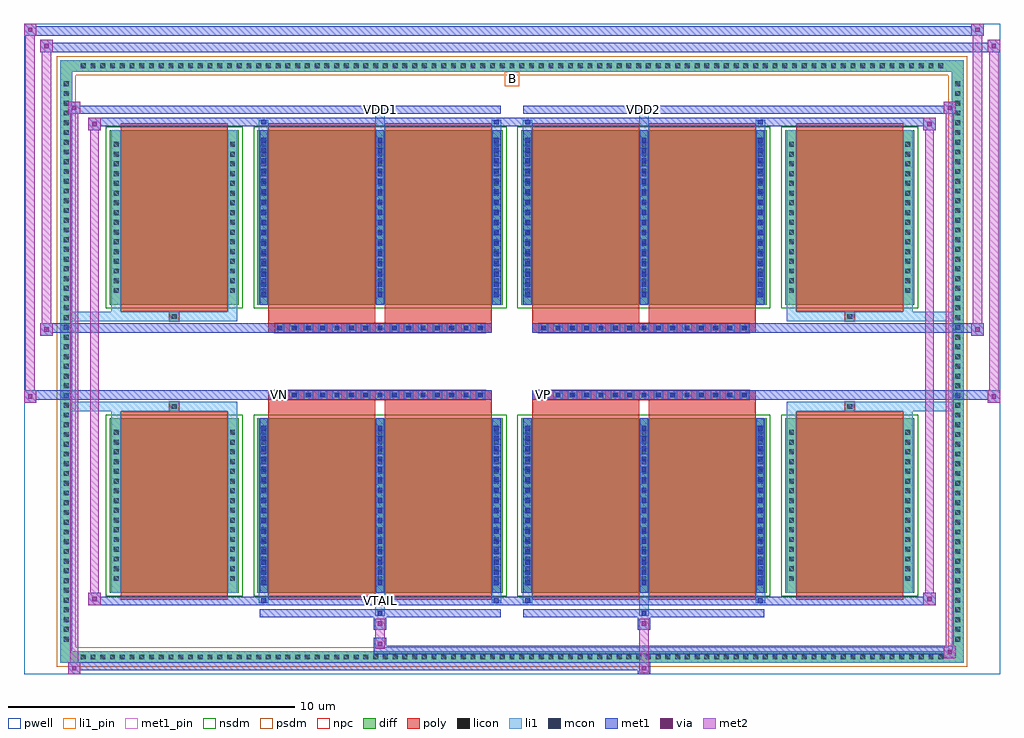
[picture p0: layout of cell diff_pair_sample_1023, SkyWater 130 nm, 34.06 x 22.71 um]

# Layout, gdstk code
import gdstk
lib = gdstk.Library(unit=1e-6, precision=5e-09)
def R(c, l, rs):  # rectangles x0, y0, x1, y1
    for r in rs: c.add(gdstk.rectangle(r[:2], r[2:], *l))
def A(c, l, x, y, w, h, nx, ny, dx, dy):  # array of equal rectangles
    R(c, l, [(x+i*dx, y+j*dy, x+i*dx+w, y+j*dy+h) for i in range(nx) for j in range(ny)])
def P(c, l, *ps):  # polygons
    for p in ps: c.add(gdstk.Polygon(p, *l))
pwell = (64, 44)
diff = (65, 20)
poly = (66, 20)
licon = (66, 44)
li1_pin = (67, 16)
li1 = (67, 20)
mcon = (67, 44)
met1_pin = (68, 16)
met1 = (68, 20)
via = (68, 44)
met2 = (69, 20)
nsdm = (93, 44)
psdm = (94, 20)
npc = (95, 20)

diff_pair_sample_1023 = lib.new_cell('diff_pair_sample_1023')
R(diff_pair_sample_1023, pwell, [(-17.03,-10.92,17.03,11.79), (-14.35,-9.11,-0.01,-0.805), (0.01,-9.11,14.35,-0.805), (-14.35,0.805,-0.01,9.11), (0.01,0.805,14.35,9.11)])
A(diff_pair_sample_1023, diff, -15.165, -10.52, 0.41, 0.41, 89, 2, 0.34, 20.63)
A(diff_pair_sample_1023, diff, -15.76, -9.895, 0.41, 0.41, 1, 58, 0, 0.34)
A(diff_pair_sample_1023, diff, 15.35, -9.895, 0.41, 0.41, 1, 58, 0, 0.34)
R(diff_pair_sample_1023, diff, [(-15.165,-10.52,15.165,-10.11), (-15.76,-9.895,-15.35,9.895), (15.35,-9.895,15.76,9.895), (-14.04,-8.065,-9.53,-1.985), (-8.89,-8.065,-0.32,-1.985), (0.32,-8.065,8.89,-1.985), (9.53,-8.065,14.04,-1.985), (-14.04,1.985,-9.53,8.065), (-8.89,1.985,-0.32,8.065), (0.32,1.985,8.89,8.065), (9.53,1.985,14.04,8.065), (-15.165,10.11,15.165,10.52)])
P(diff_pair_sample_1023, diff, [(15.76,10.52),(-15.76,10.52),(-15.76,-10.11),(-15.35,-10.11),(-15.35,10.11),(15.35,10.11),(15.35,-10.11),(-15.35,-10.11),(-15.76,-10.11),(-15.76,-10.52),(15.76,-10.52)])
A(diff_pair_sample_1023, poly, -8.27, -1.335, 0.33, 0.33, 15, 2, 0.5, 2.34)
A(diff_pair_sample_1023, poly, 0.94, -1.335, 0.33, 0.33, 15, 2, 0.5, 2.34)
R(diff_pair_sample_1023, poly, [(-13.65,-8.315,-9.92,-1.735), (-8.5,-8.315,-4.77,-1.735), (-4.44,-8.315,-0.71,-1.735), (0.71,-8.315,4.44,-1.735), (4.77,-8.315,8.5,-1.735), (9.92,-8.315,13.65,-1.735), (-11.95,-1.735,-11.62,-1.405), (-11.95,-1.735,-11.62,-1.405), (-8.5,-1.735,-4.77,-1.335), (-4.44,-1.735,-0.71,-1.335), (0.71,-1.735,4.44,-1.335), (4.77,-1.735,8.5,-1.335), (11.62,-1.735,11.95,-1.405), (11.62,-1.735,11.95,-1.405), (-8.5,-1.335,-0.71,-1.005), (0.71,-1.335,8.5,-1.005), (-8.5,1.005,-0.71,1.335), (0.71,1.005,8.5,1.335), (-8.5,1.335,-4.77,1.735), (-4.44,1.335,-0.71,1.735), (0.71,1.335,4.44,1.735), (4.77,1.335,8.5,1.735), (-11.95,1.405,-11.62,1.735), (-11.95,1.405,-11.62,1.735), (11.62,1.405,11.95,1.735), (11.62,1.405,11.95,1.735), (-13.65,1.735,-9.92,8.315), (-8.5,1.735,-4.77,8.315), (-4.44,1.735,-0.71,8.315), (0.71,1.735,4.44,8.315), (4.77,1.735,8.5,8.315), (9.92,1.735,13.65,8.315)])
A(diff_pair_sample_1023, licon, -15.045, -10.4, 0.17, 0.17, 89, 2, 0.34, 20.63)
A(diff_pair_sample_1023, licon, -15.64, -9.775, 0.17, 0.17, 1, 58, 0, 0.34)
A(diff_pair_sample_1023, licon, 15.47, -9.775, 0.17, 0.17, 1, 58, 0, 0.34)
A(diff_pair_sample_1023, licon, -13.9, -7.66, 0.17, 0.17, 1, 16, 0, 0.34)
A(diff_pair_sample_1023, licon, -9.84, -7.66, 0.17, 0.17, 1, 16, 0, 0.34)
A(diff_pair_sample_1023, licon, -8.75, -7.66, 0.17, 0.17, 3, 16, 4.06, 0.34)
A(diff_pair_sample_1023, licon, 0.46, -7.66, 0.17, 0.17, 3, 16, 4.06, 0.34)
A(diff_pair_sample_1023, licon, 9.67, -7.66, 0.17, 0.17, 1, 16, 0, 0.34)
A(diff_pair_sample_1023, licon, 13.73, -7.66, 0.17, 0.17, 1, 16, 0, 0.34)
A(diff_pair_sample_1023, licon, -8.19, -1.255, 0.17, 0.17, 15, 2, 0.5, 2.34)
A(diff_pair_sample_1023, licon, 1.02, -1.255, 0.17, 0.17, 15, 2, 0.5, 2.34)
A(diff_pair_sample_1023, licon, -13.9, 2.39, 0.17, 0.17, 1, 16, 0, 0.34)
A(diff_pair_sample_1023, licon, -9.84, 2.39, 0.17, 0.17, 1, 16, 0, 0.34)
A(diff_pair_sample_1023, licon, -8.75, 2.39, 0.17, 0.17, 3, 16, 4.06, 0.34)
A(diff_pair_sample_1023, licon, 0.46, 2.39, 0.17, 0.17, 3, 16, 4.06, 0.34)
A(diff_pair_sample_1023, licon, 9.67, 2.39, 0.17, 0.17, 1, 16, 0, 0.34)
A(diff_pair_sample_1023, licon, 13.73, 2.39, 0.17, 0.17, 1, 16, 0, 0.34)
R(diff_pair_sample_1023, licon, [(-11.87,-1.655,-11.7,-1.485), (11.7,-1.655,11.87,-1.485), (-11.87,1.485,-11.7,1.655), (11.7,1.485,11.87,1.655)])
R(diff_pair_sample_1023, li1_pin, [(-0.25,9.61,0.25,10.11)])
A(diff_pair_sample_1023, li1, -15.125, -10.48, 0.33, 0.33, 89, 2, 0.34, 20.63)
A(diff_pair_sample_1023, li1, -15.72, -9.855, 0.33, 0.33, 1, 58, 0, 0.34)
A(diff_pair_sample_1023, li1, 15.39, -9.855, 0.33, 0.33, 1, 58, 0, 0.34)
A(diff_pair_sample_1023, li1, -8.83, -8.065, 0.33, 6.08, 3, 2, 4.06, 10.05)
A(diff_pair_sample_1023, li1, 0.38, -8.065, 0.33, 6.08, 3, 2, 4.06, 10.05)
A(diff_pair_sample_1023, li1, -8.75, -7.81, 0.17, 0.17, 3, 16, 4.06, 0.36)
A(diff_pair_sample_1023, li1, -8.75, -7.81, 0.17, 5.57, 3, 2, 4.06, 10.05)
A(diff_pair_sample_1023, li1, 0.46, -7.81, 0.17, 0.17, 3, 16, 4.06, 0.36)
A(diff_pair_sample_1023, li1, 0.46, -7.81, 0.17, 5.57, 3, 2, 4.06, 10.05)
A(diff_pair_sample_1023, li1, -13.98, -7.74, 0.33, 0.33, 1, 16, 0, 0.34)
A(diff_pair_sample_1023, li1, -9.92, -7.74, 0.33, 0.33, 1, 16, 0, 0.34)
A(diff_pair_sample_1023, li1, -8.83, -7.74, 0.33, 0.33, 3, 16, 4.06, 0.34)
A(diff_pair_sample_1023, li1, 0.38, -7.74, 0.33, 0.33, 3, 16, 4.06, 0.34)
A(diff_pair_sample_1023, li1, 9.59, -7.74, 0.33, 0.33, 1, 16, 0, 0.34)
A(diff_pair_sample_1023, li1, 13.65, -7.74, 0.33, 0.33, 1, 16, 0, 0.34)
A(diff_pair_sample_1023, li1, -8.27, -1.335, 0.33, 0.33, 15, 2, 0.5, 2.34)
A(diff_pair_sample_1023, li1, 0.94, -1.335, 0.33, 0.33, 15, 2, 0.5, 2.34)
A(diff_pair_sample_1023, li1, -8.75, 2.24, 0.17, 0.17, 3, 16, 4.06, 0.36)
A(diff_pair_sample_1023, li1, 0.46, 2.24, 0.17, 0.17, 3, 16, 4.06, 0.36)
A(diff_pair_sample_1023, li1, -13.98, 2.31, 0.33, 0.33, 1, 16, 0, 0.34)
A(diff_pair_sample_1023, li1, -9.92, 2.31, 0.33, 0.33, 1, 16, 0, 0.34)
A(diff_pair_sample_1023, li1, -8.83, 2.31, 0.33, 0.33, 3, 16, 4.06, 0.34)
A(diff_pair_sample_1023, li1, 0.38, 2.31, 0.33, 0.33, 3, 16, 4.06, 0.34)
A(diff_pair_sample_1023, li1, 9.59, 2.31, 0.33, 0.33, 1, 16, 0, 0.34)
A(diff_pair_sample_1023, li1, 13.65, 2.31, 0.33, 0.33, 1, 16, 0, 0.34)
R(diff_pair_sample_1023, li1, [(-15.76,-10.52,-15.35,-10.11), (-15.76,-10.52,-15.35,-10.11), (-15.35,-10.52,15.35,-10.11), (15.35,-10.52,15.76,-10.11), (15.35,-10.52,15.76,-10.11), (-15.76,-10.11,-15.35,10.11), (15.35,-10.11,15.76,10.11), (-4.77,-8.87,-4.44,-8.065), (-4.69,-8.87,-4.52,-8.7), (4.44,-8.87,4.77,-8.065), (4.52,-8.87,4.69,-8.7), (-8.83,-8.44,-8.5,-8.065), (-8.75,-8.44,-8.58,-8.27), (-0.71,-8.44,-0.38,-8.065), (-0.63,-8.44,-0.46,-8.27), (0.38,-8.44,0.71,-8.065), (0.46,-8.44,0.63,-8.27), (8.5,-8.44,8.83,-8.065), (8.58,-8.44,8.75,-8.27), (-13.98,-8.065,-13.65,-1.985), (-9.92,-8.065,-9.59,-1.985), (9.59,-8.065,9.92,-1.985), (13.65,-8.065,13.98,-1.985), (-13.98,-1.985,-13.65,-1.405), (-9.92,-1.985,-9.59,-1.405), (9.59,-1.985,9.92,-1.405), (13.65,-1.985,13.98,-1.405), (-15.76,-1.735,-11.95,-1.405), (-13.98,-1.735,-11.95,-1.405), (-11.95,-1.735,-11.62,-1.405), (-11.62,-1.735,-9.59,-1.405), (9.59,-1.735,11.62,-1.405), (11.62,-1.735,11.95,-1.405), (11.62,-1.735,15.76,-1.405), (11.95,-1.735,13.98,-1.405), (-15.76,1.405,-11.95,1.735), (-13.98,1.405,-11.95,1.735), (-13.98,1.405,-13.65,1.985), (-11.95,1.405,-11.62,1.735), (-11.62,1.405,-9.59,1.735), (-9.92,1.405,-9.59,1.985), (9.59,1.405,11.62,1.735), (9.59,1.405,9.92,1.985), (11.62,1.405,11.95,1.735), (11.62,1.405,15.76,1.735), (11.95,1.405,13.98,1.735), (13.65,1.405,13.98,1.985), (-13.98,1.985,-13.65,8.065), (-9.92,1.985,-9.59,8.065), (9.59,1.985,9.92,8.065), (13.65,1.985,13.98,8.065), (-8.83,8.065,-8.5,8.44), (-4.77,8.065,-4.44,8.87), (-0.71,8.065,-0.38,8.44), (0.38,8.065,0.71,8.44), (4.44,8.065,4.77,8.87), (8.5,8.065,8.83,8.44), (-8.75,8.27,-8.58,8.44), (-0.63,8.27,-0.46,8.44), (0.46,8.27,0.63,8.44), (8.58,8.27,8.75,8.44), (-4.69,8.7,-4.52,8.87), (4.52,8.7,4.69,8.87), (-15.76,10.11,-15.35,10.52), (-15.76,10.11,-15.35,10.52), (-15.35,10.11,15.35,10.52), (15.35,10.11,15.76,10.52), (15.35,10.11,15.76,10.52)])
A(diff_pair_sample_1023, mcon, -8.75, -7.81, 0.17, 0.17, 3, 16, 4.06, 0.36)
A(diff_pair_sample_1023, mcon, 0.46, -7.81, 0.17, 0.17, 3, 16, 4.06, 0.36)
A(diff_pair_sample_1023, mcon, -8.19, -1.255, 0.17, 0.17, 15, 2, 0.5, 2.34)
A(diff_pair_sample_1023, mcon, 1.02, -1.255, 0.17, 0.17, 15, 2, 0.5, 2.34)
A(diff_pair_sample_1023, mcon, -8.75, 2.24, 0.17, 0.17, 3, 16, 4.06, 0.36)
A(diff_pair_sample_1023, mcon, 0.46, 2.24, 0.17, 0.17, 3, 16, 4.06, 0.36)
R(diff_pair_sample_1023, mcon, [(-4.69,-8.87,-4.52,-8.7), (4.52,-8.87,4.69,-8.7), (-8.75,-8.44,-8.58,-8.27), (-0.63,-8.44,-0.46,-8.27), (0.46,-8.44,0.63,-8.27), (8.58,-8.44,8.75,-8.27), (-8.75,8.27,-8.58,8.44), (-0.63,8.27,-0.46,8.44), (0.46,8.27,0.63,8.44), (8.58,8.27,8.75,8.44), (-4.69,8.7,-4.52,8.87), (4.52,8.7,4.69,8.87)])
R(diff_pair_sample_1023, met1_pin, [(-4.74,-8.48,-4.47,-8.21), (-8.24,-1.295,-7.97,-1.025), (0.97,-1.295,1.24,-1.025), (-4.74,8.66,-4.47,8.93), (4.47,8.66,4.74,8.93)])
A(diff_pair_sample_1023, met1, -8.81, -8.065, 0.29, 6.08, 3, 2, 4.06, 10.05)
A(diff_pair_sample_1023, met1, 0.4, -8.065, 0.29, 6.08, 3, 2, 4.06, 10.05)
A(diff_pair_sample_1023, met1, -8.81, -7.87, 0.29, 0.29, 3, 16, 4.06, 0.36)
A(diff_pair_sample_1023, met1, 0.4, -7.87, 0.29, 0.29, 3, 16, 4.06, 0.36)
A(diff_pair_sample_1023, met1, -8.25, -1.315, 0.29, 0.29, 15, 2, 0.5, 2.34)
A(diff_pair_sample_1023, met1, 0.96, -1.315, 0.29, 0.29, 15, 2, 0.5, 2.34)
A(diff_pair_sample_1023, met1, -8.81, 2.18, 0.29, 0.29, 3, 16, 4.06, 0.36)
A(diff_pair_sample_1023, met1, 0.4, 2.18, 0.29, 0.29, 3, 16, 4.06, 0.36)
R(diff_pair_sample_1023, met1, [(-15.49,-10.92,-15.06,-10.49), (4.39,-10.92,4.82,-10.49), (-15.49,-10.78,4.82,-10.49), (15.06,-10.35,15.49,-9.92), (-4.82,-10.21,15.49,-9.92), (-4.82,-10.07,-4.39,-9.64), (-4.82,-9.36,-4.39,-8.93), (4.39,-9.36,4.82,-8.93), (-8.81,-8.93,-0.4,-8.64), (-4.75,-8.93,-4.46,-8.64), (0.4,-8.93,8.81,-8.64), (4.46,-8.93,4.75,-8.64), (-14.78,-8.5,-14.35,-8.07), (-14.78,-8.5,-8.81,-8.21), (-8.81,-8.5,-8.52,-8.21), (-8.81,-8.5,-0.4,-8.21), (-0.69,-8.5,-0.4,-8.21), (-0.4,-8.5,0.4,-8.21), (0.4,-8.5,0.69,-8.21), (0.4,-8.5,8.81,-8.21), (8.52,-8.5,8.81,-8.21), (8.81,-8.5,14.78,-8.21), (14.35,-8.5,14.78,-8.07), (-17.03,-1.435,-16.6,-1.005), (16.6,-1.435,17.03,-1.005), (-17.03,-1.335,-0.71,-1.005), (-8.5,-1.335,-0.71,-1.005), (0.71,-1.335,8.5,-1.005), (0.71,-1.335,17.03,-1.005), (-16.46,0.905,-16.03,1.335), (16.03,0.905,16.46,1.335), (-16.46,1.005,-8.5,1.335), (-8.5,1.005,-0.71,1.335), (0.71,1.005,8.5,1.335), (8.5,1.005,16.46,1.335), (-14.78,8.07,-14.35,8.5), (14.35,8.07,14.78,8.5), (-14.78,8.21,-8.81,8.5), (-8.81,8.21,-8.52,8.5), (-8.81,8.21,-0.4,8.5), (-0.69,8.21,-0.4,8.5), (-0.4,8.21,0.4,8.5), (0.4,8.21,0.69,8.5), (0.4,8.21,8.81,8.5), (8.52,8.21,8.81,8.5), (8.81,8.21,14.78,8.5), (-15.49,8.64,-15.06,9.07), (-15.49,8.64,-8.81,8.93), (-8.81,8.64,-0.4,8.93), (-4.75,8.64,-4.46,8.93), (0.4,8.64,8.81,8.93), (4.46,8.64,4.75,8.93), (8.81,8.64,15.49,8.93), (15.06,8.64,15.49,9.07), (-16.46,10.79,-16.03,11.22), (-16.46,10.79,-14.35,11.12), (-14.35,10.79,14.35,11.12), (14.35,10.79,17.03,11.12), (16.6,10.79,17.03,11.22), (-17.03,11.36,-16.6,11.79), (-17.03,11.36,-14.35,11.69), (-14.35,11.36,14.35,11.69), (14.35,11.36,16.46,11.69), (16.03,11.36,16.46,11.79)])
R(diff_pair_sample_1023, via, [(-15.35,-10.78,-15.2,-10.63), (4.53,-10.78,4.68,-10.63), (15.2,-10.21,15.35,-10.06), (-4.68,-9.93,-4.53,-9.78), (-4.68,-9.22,-4.53,-9.07), (4.53,-9.22,4.68,-9.07), (-14.64,-8.36,-14.49,-8.21), (14.49,-8.36,14.64,-8.21), (-16.89,-1.295,-16.74,-1.145), (16.74,-1.295,16.89,-1.145), (-16.32,1.045,-16.17,1.195), (16.17,1.045,16.32,1.195), (-14.64,8.21,-14.49,8.36), (14.49,8.21,14.64,8.36), (-15.35,8.78,-15.2,8.93), (15.2,8.78,15.35,8.93), (-16.32,10.93,-16.17,11.08), (16.74,10.93,16.89,11.08), (-16.89,11.5,-16.74,11.65), (16.17,11.5,16.32,11.65)])
R(diff_pair_sample_1023, met2, [(-15.49,-10.92,-15.06,-10.49), (-15.42,-10.92,-15.13,9.07), (-15.13,-10.92,-15.06,-10.49), (-15.44,-10.87,-15.11,-10.54), (4.44,-10.87,4.77,-10.54), (4.44,-10.54,4.77,-9.31), (15.06,-10.35,15.49,-9.92), (15.13,-10.35,15.42,9.07), (15.42,-10.35,15.49,-9.92), (15.11,-10.3,15.44,-9.97), (-4.77,-10.02,-4.44,-9.69), (-4.77,-9.69,-4.44,-9.31), (-4.77,-9.31,-4.44,-8.98), (4.44,-9.31,4.77,-8.98), (-14.78,-8.5,-14.35,-8.07), (-14.71,-8.5,-14.42,8.5), (-14.42,-8.5,-14.35,-8.07), (14.35,-8.5,14.78,-8.07), (14.42,-8.5,14.71,8.5), (14.71,-8.5,14.78,-8.07), (-14.73,-8.45,-14.4,-8.12), (14.4,-8.45,14.73,-8.12), (-17.03,-1.435,-16.6,-1.005), (-16.98,-1.435,-16.65,11.79), (-16.65,-1.435,-16.6,-1.005), (16.6,-1.435,17.03,-1.005), (16.65,-1.435,16.98,11.22), (16.98,-1.435,17.03,-1.005), (-16.98,-1.385,-16.65,-1.055), (16.65,-1.385,16.98,-1.055), (-16.46,0.905,-16.03,1.335), (-16.41,0.905,-16.08,11.22), (-16.08,0.905,-16.03,1.335), (16.03,0.905,16.46,1.335), (16.08,0.905,16.41,11.79), (16.41,0.905,16.46,1.335), (-16.41,0.955,-16.08,1.285), (16.08,0.955,16.41,1.285), (-14.78,8.07,-14.35,8.5), (-14.42,8.07,-14.35,8.5), (14.35,8.07,14.78,8.5), (14.71,8.07,14.78,8.5), (-14.73,8.12,-14.4,8.45), (14.4,8.12,14.73,8.45), (-15.49,8.64,-15.06,9.07), (-15.13,8.64,-15.06,9.07), (15.06,8.64,15.49,9.07), (15.42,8.64,15.49,9.07), (-15.44,8.69,-15.11,9.02), (15.11,8.69,15.44,9.02), (-16.46,10.79,-16.03,11.22), (-16.08,10.79,-16.03,11.22), (16.6,10.79,17.03,11.22), (16.98,10.79,17.03,11.22), (-16.41,10.84,-16.08,11.17), (16.65,10.84,16.98,11.17), (-17.03,11.36,-16.6,11.79), (-16.65,11.36,-16.6,11.79), (16.03,11.36,16.46,11.79), (16.41,11.36,16.46,11.79), (-16.98,11.41,-16.65,11.74), (16.08,11.41,16.41,11.74)])
R(diff_pair_sample_1023, nsdm, [(-14.17,-8.195,-9.4,-1.855), (-9.02,-8.195,-0.19,-1.855), (0.19,-8.195,9.02,-1.855), (9.4,-8.195,14.17,-1.855), (-14.17,1.855,-9.4,8.195), (-9.02,1.855,-0.19,8.195), (0.19,1.855,9.02,8.195), (9.4,1.855,14.17,8.195)])
P(diff_pair_sample_1023, psdm, [(15.89,10.65),(-15.89,10.65),(-15.89,-9.98),(-15.22,-9.98),(-15.22,9.98),(15.22,9.98),(15.22,-9.98),(-15.22,-9.98),(-15.89,-9.98),(-15.89,-10.65),(15.89,-10.65)])
A(diff_pair_sample_1023, npc, -8.29, -1.355, 0.37, 0.37, 15, 2, 0.5, 2.34)
A(diff_pair_sample_1023, npc, 0.92, -1.355, 0.37, 0.37, 15, 2, 0.5, 2.34)
R(diff_pair_sample_1023, npc, [(-11.97,-1.755,-11.6,-1.385), (11.6,-1.755,11.97,-1.385), (-8.29,-1.355,-7.42,-0.985), (-8.29,-1.355,-7.42,-0.985), (-7.79,-1.355,-6.92,-0.985), (-7.79,-1.355,-6.92,-0.985), (-7.29,-1.355,-6.42,-0.985), (-7.29,-1.355,-6.42,-0.985), (-6.79,-1.355,-5.92,-0.985), (-6.79,-1.355,-5.92,-0.985), (-6.29,-1.355,-5.42,-0.985), (-6.29,-1.355,-5.42,-0.985), (-5.79,-1.355,-4.92,-0.985), (-5.79,-1.355,-4.92,-0.985), (-5.29,-1.355,-4.42,-0.985), (-5.29,-1.355,-4.42,-0.985), (-4.79,-1.355,-3.92,-0.985), (-4.79,-1.355,-3.92,-0.985), (-4.29,-1.355,-3.42,-0.985), (-4.29,-1.355,-3.42,-0.985), (-3.79,-1.355,-2.92,-0.985), (-3.79,-1.355,-2.92,-0.985), (-3.29,-1.355,-2.42,-0.985), (-3.29,-1.355,-2.42,-0.985), (-2.79,-1.355,-1.92,-0.985), (-2.79,-1.355,-1.92,-0.985), (-2.29,-1.355,-1.42,-0.985), (-2.29,-1.355,-1.42,-0.985), (-1.79,-1.355,-0.92,-0.985), (-1.79,-1.355,-0.92,-0.985), (0.92,-1.355,1.79,-0.985), (0.92,-1.355,1.79,-0.985), (1.42,-1.355,2.29,-0.985), (1.42,-1.355,2.29,-0.985), (1.92,-1.355,2.79,-0.985), (1.92,-1.355,2.79,-0.985), (2.42,-1.355,3.29,-0.985), (2.42,-1.355,3.29,-0.985), (2.92,-1.355,3.79,-0.985), (2.92,-1.355,3.79,-0.985), (3.42,-1.355,4.29,-0.985), (3.42,-1.355,4.29,-0.985), (3.92,-1.355,4.79,-0.985), (3.92,-1.355,4.79,-0.985), (4.42,-1.355,5.29,-0.985), (4.42,-1.355,5.29,-0.985), (4.92,-1.355,5.79,-0.985), (4.92,-1.355,5.79,-0.985), (5.42,-1.355,6.29,-0.985), (5.42,-1.355,6.29,-0.985), (5.92,-1.355,6.79,-0.985), (5.92,-1.355,6.79,-0.985), (6.42,-1.355,7.29,-0.985), (6.42,-1.355,7.29,-0.985), (6.92,-1.355,7.79,-0.985), (6.92,-1.355,7.79,-0.985), (7.42,-1.355,8.29,-0.985), (7.42,-1.355,8.29,-0.985), (-8.29,0.985,-7.42,1.355), (-8.29,0.985,-7.42,1.355), (-7.79,0.985,-6.92,1.355), (-7.79,0.985,-6.92,1.355), (-7.29,0.985,-6.42,1.355), (-7.29,0.985,-6.42,1.355), (-6.79,0.985,-5.92,1.355), (-6.79,0.985,-5.92,1.355), (-6.29,0.985,-5.42,1.355), (-6.29,0.985,-5.42,1.355), (-5.79,0.985,-4.92,1.355), (-5.79,0.985,-4.92,1.355), (-5.29,0.985,-4.42,1.355), (-5.29,0.985,-4.42,1.355), (-4.79,0.985,-3.92,1.355), (-4.79,0.985,-3.92,1.355), (-4.29,0.985,-3.42,1.355), (-4.29,0.985,-3.42,1.355), (-3.79,0.985,-2.92,1.355), (-3.79,0.985,-2.92,1.355), (-3.29,0.985,-2.42,1.355), (-3.29,0.985,-2.42,1.355), (-2.79,0.985,-1.92,1.355), (-2.79,0.985,-1.92,1.355), (-2.29,0.985,-1.42,1.355), (-2.29,0.985,-1.42,1.355), (-1.79,0.985,-0.92,1.355), (-1.79,0.985,-0.92,1.355), (0.92,0.985,1.79,1.355), (0.92,0.985,1.79,1.355), (1.42,0.985,2.29,1.355), (1.42,0.985,2.29,1.355), (1.92,0.985,2.79,1.355), (1.92,0.985,2.79,1.355), (2.42,0.985,3.29,1.355), (2.42,0.985,3.29,1.355), (2.92,0.985,3.79,1.355), (2.92,0.985,3.79,1.355), (3.42,0.985,4.29,1.355), (3.42,0.985,4.29,1.355), (3.92,0.985,4.79,1.355), (3.92,0.985,4.79,1.355), (4.42,0.985,5.29,1.355), (4.42,0.985,5.29,1.355), (4.92,0.985,5.79,1.355), (4.92,0.985,5.79,1.355), (5.42,0.985,6.29,1.355), (5.42,0.985,6.29,1.355), (5.92,0.985,6.79,1.355), (5.92,0.985,6.79,1.355), (6.42,0.985,7.29,1.355), (6.42,0.985,7.29,1.355), (6.92,0.985,7.79,1.355), (6.92,0.985,7.79,1.355), (7.42,0.985,8.29,1.355), (7.42,0.985,8.29,1.355), (-11.97,1.385,-11.6,1.755), (11.6,1.385,11.97,1.755)])
diff_pair_sample_1023.add(gdstk.Label('VTAIL', (-4.605,-8.345), layer=68, texttype=5))
diff_pair_sample_1023.add(gdstk.Label('VN', (-8.105,-1.16), layer=68, texttype=5))
diff_pair_sample_1023.add(gdstk.Label('VP', (1.105,-1.16), layer=68, texttype=5))
diff_pair_sample_1023.add(gdstk.Label('B', (0,9.86), layer=67, texttype=5))
diff_pair_sample_1023.add(gdstk.Label('VDD2', (4.605,8.795), layer=68, texttype=5))
diff_pair_sample_1023.add(gdstk.Label('VDD1', (-4.605,8.795), layer=68, texttype=5))

lib.write_gds('diff_pair_sample_1023.gds')
